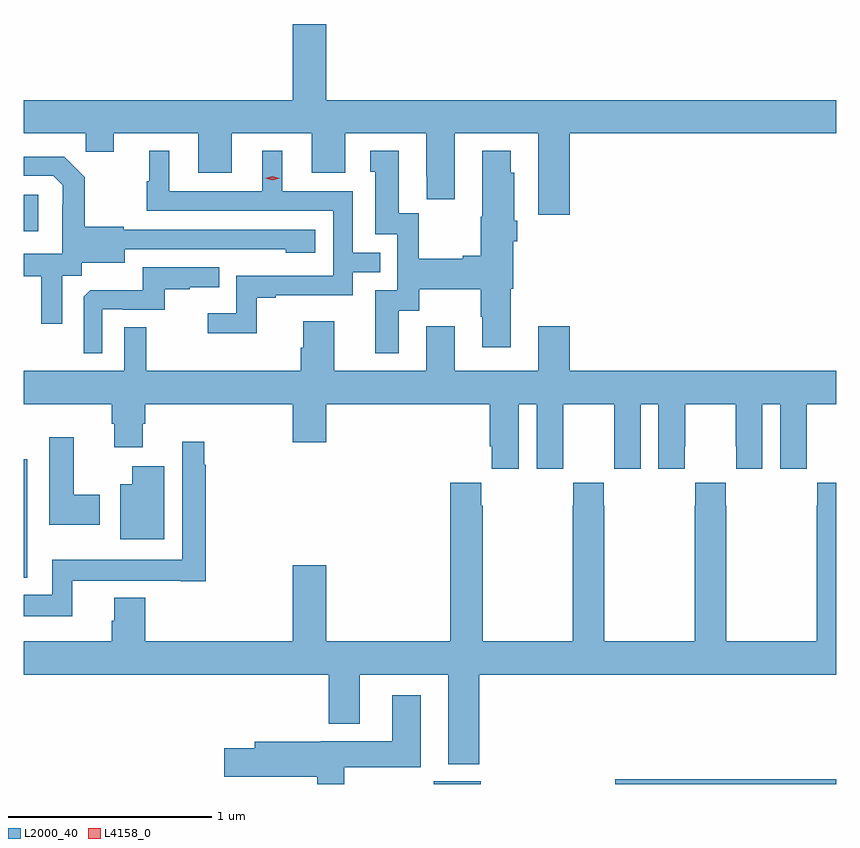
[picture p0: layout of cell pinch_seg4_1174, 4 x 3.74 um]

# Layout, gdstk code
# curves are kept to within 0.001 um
import gdstk
lib = gdstk.Library(unit=1e-6, precision=1e-09)
def R(c, l, rs):  # rectangles x0, y0, x1, y1
    for r in rs: c.add(gdstk.rectangle(r[:2], r[2:], *l))
def P(c, l, *ps):  # polygons
    for p in ps: c.add(gdstk.Polygon(p, *l))
L2000_40 = (2000, 40)
L4158_0 = (4158, 0)

pinch_seg4_1174 = lib.new_cell('pinch_seg4_1174')
R(pinch_seg4_1174, L2000_40, [(573.293,782.961,573.526,782.974), (574.187,782.961,575.275,782.984), (571.275,783.977,571.293,784.561), (571.275,785.682,571.345,785.862)])
P(pinch_seg4_1174, L2000_40, [(572.764,786.703),(572.6,786.703),(572.6,786.328),(571.275,786.328),(571.275,786.164),(571.579,786.164),(571.579,786.074),(571.717,786.074),(571.717,786.164),(572.135,786.164),(572.135,785.97),(572.299,785.97),(572.299,786.164),(572.693,786.164),(572.693,785.97),(572.857,785.97),(572.857,786.164),(573.257,786.164),(573.257,785.953),(573.26,785.953),(573.26,785.841),(573.397,785.841),(573.397,786.164),(573.809,786.164),(573.809,785.763),(573.962,785.763),(573.962,786.164),(575.275,786.164),(575.275,786.328),(572.764,786.328)],
  [(573.121,785.29),(573.223,785.29),(573.223,785.396),(573.526,785.396),(573.526,785.262),(573.533,785.262),(573.533,785.112),(573.673,785.112),(573.673,785.4),(573.686,785.4),(573.686,785.634),(573.704,785.634),(573.704,785.734),(573.691,785.734),(573.691,785.97),(573.673,785.97),(573.673,786.079),(573.533,786.079),(573.533,785.753),(573.526,785.753),(573.526,785.561),(573.437,785.561),(573.437,785.548),(573.219,785.548),(573.219,785.771),(573.121,785.771),(573.121,786.079),(572.981,786.079),(572.981,785.976),(573.005,785.976),(573.005,785.667),(573.114,785.667),(573.114,785.391),(573.005,785.391),(573.005,785.082),(573.121,785.082)],
  [(572.421,785.355),(572.515,785.355),(572.515,785.367),(572.895,785.367),(572.895,785.481),(573.029,785.481),(573.029,785.577),(572.895,785.577),(572.895,785.88),(572.548,785.88),(572.548,786.079),(572.45,786.079),(572.45,785.88),(571.99,785.88),(571.99,786.079),(571.892,786.079),(571.892,785.928),(571.881,785.928),(571.881,785.784),(572.799,785.784),(572.799,785.463),(572.322,785.463),(572.322,785.278),(572.181,785.278),(572.181,785.18),(572.421,785.18)],
  [(571.465,785.464),(571.56,785.464),(571.56,785.528),(571.771,785.528),(571.771,785.595),(572.565,785.594),(572.565,785.576),(572.71,785.576),(572.71,785.691),(571.767,785.691),(571.767,785.704),(571.575,785.704),(571.575,785.949),(571.475,786.049),(571.275,786.049),(571.275,785.955),(571.419,785.955),(571.466,785.908),(571.466,785.813),(571.464,785.813),(571.464,785.572),(571.275,785.572),(571.275,785.462),(571.361,785.462),(571.361,785.226),(571.465,785.226)],
  [(571.662,785.298),(571.762,785.298),(571.762,785.295),(571.97,785.295),(571.97,785.397),(572.093,785.397),(572.093,785.408),(572.237,785.408),(572.237,785.505),(571.86,785.505),(571.86,785.393),(571.601,785.393),(571.569,785.361),(571.569,785.081),(571.662,785.081)],
  [(573.397,785.215),(573.257,785.215),(573.257,784.996),(572.803,784.996),(572.803,785.239),(572.651,785.239),(572.651,785.109),(572.639,785.109),(572.639,784.996),(571.879,784.996),(571.879,785.21),(571.77,785.21),(571.77,784.996),(571.275,784.996),(571.275,784.832),(571.709,784.832),(571.709,784.734),(571.721,784.734),(571.721,784.62),(571.861,784.62),(571.861,784.734),(571.874,784.734),(571.874,784.832),(572.6,784.832),(572.6,784.644),(572.764,784.644),(572.764,784.832),(573.569,784.832),(573.569,784.624),(573.578,784.624),(573.578,784.512),(573.712,784.512),(573.712,784.832),(573.8,784.832),(573.8,784.512),(573.93,784.512),(573.93,784.624),(573.931,784.624),(573.931,784.832),(574.181,784.832),(574.181,784.624),(574.182,784.624),(574.182,784.512),(574.312,784.512),(574.312,784.832),(574.4,784.832),(574.4,784.512),(574.53,784.512),(574.53,784.624),(574.531,784.624),(574.531,784.832),(574.781,784.832),(574.781,784.624),(574.782,784.624),(574.782,784.512),(574.912,784.512),(574.912,784.832),(575,784.832),(575,784.512),(575.13,784.512),(575.13,784.624),(575.131,784.624),(575.131,784.832),(575.275,784.832),(575.275,784.996),(573.962,784.996),(573.962,785.215),(573.809,785.215),(573.809,784.996),(573.397,784.996)],
  [(571.648,784.386),(571.522,784.386),(571.522,784.669),(571.4,784.669),(571.4,784.238),(571.648,784.238)],
  [(571.514,783.962),(572.048,783.962),(572.048,783.96),(572.171,783.96),(572.171,784.532),(572.164,784.532),(572.164,784.645),(572.055,784.645),(572.055,784.066),(571.416,784.066),(571.416,783.892),(571.275,783.892),(571.275,783.788),(571.514,783.788)],
  [(571.966,784.525),(571.808,784.525),(571.808,784.438),(571.751,784.438),(571.751,784.166),(571.966,784.166)],
  [(573.518,783.5),(575.275,783.5),(575.275,784.444),(575.181,784.444),(575.181,784.331),(575.179,784.331),(575.179,783.664),(574.734,783.664),(574.734,784.331),(574.731,784.331),(574.731,784.444),(574.581,784.444),(574.581,784.331),(574.579,784.331),(574.579,783.664),(574.134,783.664),(574.134,784.331),(574.131,784.331),(574.131,784.444),(573.981,784.444),(573.981,784.331),(573.979,784.331),(573.979,783.664),(573.534,783.664),(573.534,784.331),(573.527,784.331),(573.527,784.444),(573.374,784.444),(573.374,783.664),(572.764,783.664),(572.764,784.039),(572.6,784.039),(572.6,783.664),(571.874,783.664),(571.874,783.877),(571.721,783.877),(571.721,783.765),(571.709,783.765),(571.709,783.664),(571.275,783.664),(571.275,783.5),(572.777,783.5),(572.777,783.257),(572.929,783.257),(572.929,783.5),(573.365,783.5),(573.365,783.059),(573.518,783.059)],
  [(572.854,783.044),(573.229,783.044),(573.229,783.397),(573.089,783.397),(573.089,783.172),(572.736,783.172),(572.736,783.168),(572.411,783.168),(572.411,783.138),(572.262,783.138),(572.262,782.996),(572.72,782.996),(572.72,782.961),(572.854,782.961)])
P(pinch_seg4_1174, L4158_0, [(572.499,785.933),(572.463,785.943),(572.463,785.944),(572.463,785.944),(572.499,785.954),(572.535,785.944),(572.535,785.944),(572.535,785.943)])

lib.write_gds('pinch_seg4_1174.gds')
